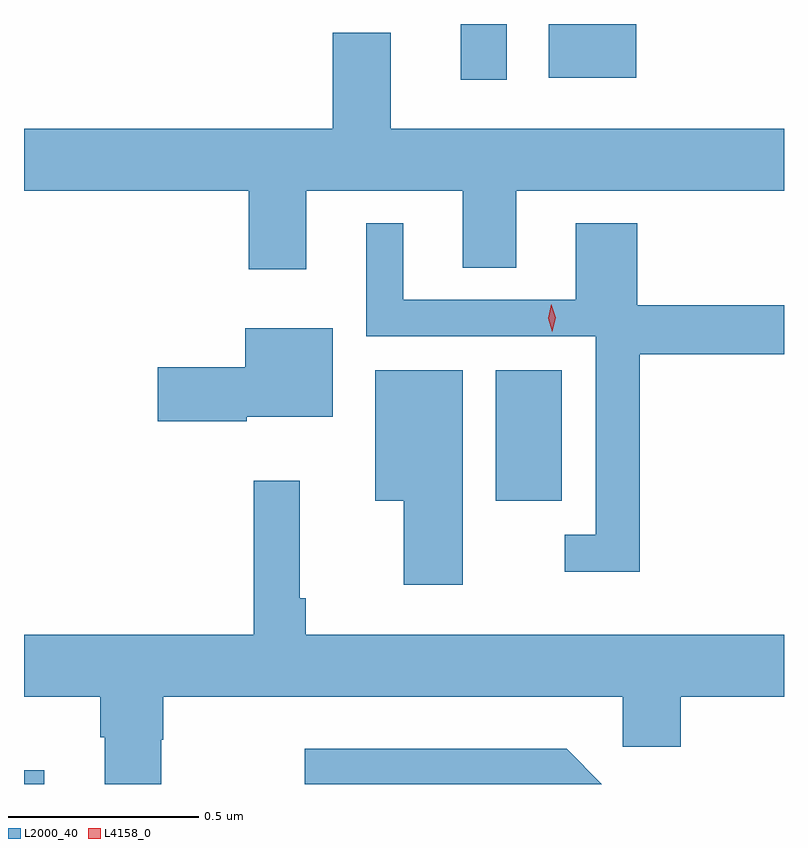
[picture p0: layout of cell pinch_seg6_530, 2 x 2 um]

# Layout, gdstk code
import gdstk
lib = gdstk.Library(unit=1e-6, precision=1e-09)
def R(c, l, rs):  # rectangles x0, y0, x1, y1
    for r in rs: c.add(gdstk.rectangle(r[:2], r[2:], *l))
def P(c, l, *ps):  # polygons
    for p in ps: c.add(gdstk.Polygon(p, *l))
L2000_40 = (2000, 40)
L4158_0 = (4158, 0)

pinch_seg6_530 = lib.new_cell('pinch_seg6_530')
R(pinch_seg6_530, L2000_40, [(761.288,940.447,761.341,940.483), (762.53,941.192,762.703,941.536), (762.437,942.3,762.559,942.447), (762.669,942.305,762.899,942.447)])
P(pinch_seg6_530, L2000_40, [(762.031,942.008),(762.443,942.008),(762.443,941.806),(762.583,941.806),(762.583,942.008),(763.288,942.008),(763.288,942.172),(762.253,942.172),(762.253,942.424),(762.101,942.424),(762.101,942.172),(761.288,942.172),(761.288,942.008),(761.879,942.008),(761.879,941.802),(762.031,941.802)],
  [(762.908,941.578),(763.288,941.578),(763.288,941.707),(762.902,941.707),(762.902,941.923),(762.74,941.923),(762.74,941.721),(762.286,941.721),(762.286,941.923),(762.188,941.923),(762.188,941.625),(762.792,941.625),(762.792,941.103),(762.711,941.103),(762.711,941.006),(762.908,941.006)],
  [(761.874,941.414),(762.1,941.414),(762.1,941.647),(761.87,941.647),(761.87,941.544),(761.64,941.544),(761.64,941.402),(761.874,941.402)],
  [(762.442,941.536),(762.212,941.536),(762.212,941.192),(762.287,941.192),(762.287,940.971),(762.442,940.971)],
  [(761.649,940.563),(761.654,940.563),(761.654,940.676),(762.864,940.676),(762.864,940.545),(763.016,940.545),(763.016,940.676),(763.288,940.676),(763.288,940.84),(762.029,940.84),(762.029,940.936),(762.014,940.936),(762.014,941.245),(761.893,941.245),(761.893,940.84),(761.288,940.84),(761.288,940.676),(761.489,940.676),(761.489,940.57),(761.501,940.57),(761.501,940.447),(761.649,940.447)],
  [(762.716,940.54),(762.027,940.54),(762.027,940.447),(762.809,940.447)])
P(pinch_seg6_530, L4158_0, [(762.678,941.637),(762.678,941.637),(762.667,941.673),(762.675,941.709),(762.675,941.709),(762.676,941.709),(762.687,941.674),(762.678,941.637)])

lib.write_gds('pinch_seg6_530.gds')
